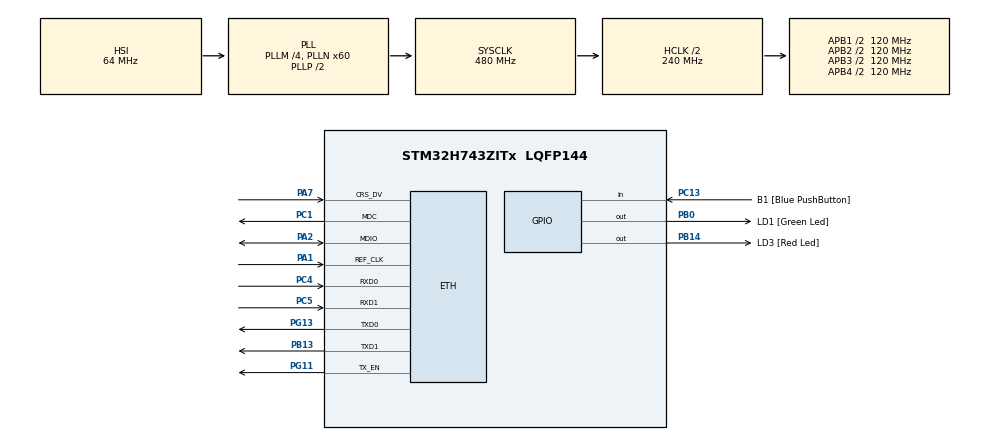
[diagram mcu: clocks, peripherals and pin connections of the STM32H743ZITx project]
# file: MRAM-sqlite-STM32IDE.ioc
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CORTEX_M7.CPU_DCache=Enabled
CORTEX_M7.CPU_ICache=Enabled
CORTEX_M7.Enable-Cortex_Memory_Protection_Unit_Region0_Settings=MPU_REGION_ENABLE
CORTEX_M7.Enable-Cortex_Memory_Protection_Unit_Region1_Settings=__NULL
CORTEX_M7.MPU_Control=__NULL
CORTEX_M7.Size-Cortex_Memory_Protection_Unit_Region0_Settings=MPU_REGION_SIZE_512KB
CRC.DefaultInitValueUse=DEFAULT_INIT_VALUE_DISABLE
CRC.DefaultPolynomialUse=DEFAULT_POLYNOMIAL_DISABLE
CRC.GeneratingPolynomial=X28+X27+X26+X25+X23+X22+X20+X19+X18+X14+X13+X11+X10+X9+X8+X6+X0
CRC.InitValue=0xffffffff
CRC.InputDataFormat=CRC_INPUTDATA_FORMAT_WORDS
CRC.InputDataInversionMode=CRC_INPUTDATA_INVERSION_NONE
CRC.OutputDataInversionMode=CRC_OUTPUTDATA_INVERSION_DISABLE
ETH.MediaInterface=HAL_ETH_RMII_MODE
Mcu.Family=STM32H7
Mcu.Name=STM32H743ZITx
Mcu.Package=LQFP144
Mcu.UserConstants=baseAddress,0xc0000000
NVIC.PriorityGroup=NVIC_PRIORITYGROUP_4
PA1.Mode=RMII
PA1.Signal=ETH_REF_CLK
PA13\ (JTMS/SWDIO).Mode=Trace_Asynchronous_SW
PA13\ (JTMS/SWDIO).Signal=DEBUG_JTMS-SWDIO
PA14\ (JTCK/SWCLK).Mode=Trace_Asynchronous_SW
PA14\ (JTCK/SWCLK).Signal=DEBUG_JTCK-SWCLK
PA2.Mode=RMII
PA2.Signal=ETH_MDIO
PA7.Mode=RMII
PA7.Signal=ETH_CRS_DV
PB0.GPIO_Label=LD1 [Green Led]
PB0.Signal=GPIO_Output
PB13.Mode=RMII
PB13.Signal=ETH_TXD1
PB14.GPIO_Label=LD3 [Red Led]
PB14.Signal=GPIO_Output
PB3\ (JTDO/TRACESWO).Mode=Trace_Asynchronous_SW
PB3\ (JTDO/TRACESWO).Signal=DEBUG_JTDO-SWO
PC1.Mode=RMII
PC1.Signal=ETH_MDC
PC13.GPIO_Label=B1 [Blue PushButton]
PC13.Signal=GPIO_Input
PC14-OSC32_IN\ (OSC32_IN).Mode=LSE-External-Oscillator
PC14-OSC32_IN\ (OSC32_IN).Signal=RCC_OSC32_IN
PC15-OSC32_OUT\ (OSC32_OUT).Mode=LSE-External-Oscillator
PC15-OSC32_OUT\ (OSC32_OUT).Signal=RCC_OSC32_OUT
PC4.Mode=RMII
PC4.Signal=ETH_RXD0
PC5.Mode=RMII
PC5.Signal=ETH_RXD1
PD7.GPIO_PuPd=GPIO_PULLUP
PD7.Signal=FMC_NE1
PG11.Mode=RMII
PG11.Signal=ETH_TX_EN
PG13.Mode=RMII
PG13.Signal=ETH_TXD0
PH0-OSC_IN\ (PH0).Mode=HSE-External-Clock-Source
PH0-OSC_IN\ (PH0).Signal=RCC_OSC_IN
PH1-OSC_OUT\ (PH1).Signal=RCC_OSC_OUT
ProjectManager.HeapSize=0x200
ProjectManager.StackSize=0x400
ProjectManager.TargetToolchain=STM32CubeIDE
RCC.ADCFreq_Value=129000000
RCC.APB1Freq_Value=120000000
RCC.APB2Freq_Value=120000000
RCC.APB3Freq_Value=120000000
RCC.APB4Freq_Value=120000000
RCC.CortexFreq_Value=480000000
RCC.D1PPRE=RCC_APB3_DIV2
RCC.D2PPRE1=RCC_APB1_DIV2
RCC.D2PPRE2=RCC_APB2_DIV2
RCC.D3PPRE=RCC_APB4_DIV2
RCC.DATA_CACHE_ENABLE=1
RCC.DIVM1=4
RCC.DIVN1=60
RCC.DIVQ1=4
RCC.HCLKFreq_Value=240000000
RCC.HPRE=RCC_HCLK_DIV2
RCC.HSE_VALUE=8000000
RCC.INSTRUCTION_CACHE_ENABLE=1
RCC.PLL2FRACN=0
RCC.PLL3FRACN=0
RCC.PLLFRACN=0
RCC.PREFETCH_ENABLE=1
RCC.PWREXT_OverDrive=PWREXT_OverDrive_DESACTIVATED
RCC.PWR_Regulator_Voltage_Scale=PWR_REGULATOR_VOLTAGE_SCALE0
RCC.SYSCLKFreq_VALUE=480000000
RCC.SYSCLKSource=RCC_SYSCLKSOURCE_PLLCLK
RCC.USBFreq_Value=240000000
VP_CRC_VS_CRC.Mode=CRC_Activate
board=NUCLEO-H743ZI2

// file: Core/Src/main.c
/* USER CODE BEGIN Header */
/**
  ******************************************************************************
  * @file           : main.c
  * @brief          : Main program body
  ******************************************************************************
  * @attention
  *
  * Copyright (c) 2023 STMicroelectronics.
  * All rights reserved.
  *
  * This software is licensed under terms that can be found in the LICENSE file
  * in the root directory of this software component.
  * If no LICENSE file comes with this software, it is provided AS-IS.
  *
  ******************************************************************************
  */
/* USER CODE END Header */
#include "main.h"
#include "string.h"

/* USER CODE BEGIN Includes */
#include "mram_commons.h"
#include "bench_sqlite3.h"
#include "stdio.h"
#include "stm32h7xx_hal.h"
#include "stdlib.h"
/* USER CODE END Includes */

#if defined ( __ICCARM__ ) /*!< IAR Compiler */
#pragma location=0x30000000
ETH_DMADescTypeDef  DMARxDscrTab[ETH_RX_DESC_CNT]; /* Ethernet Rx DMA Descriptors */
#pragma location=0x30000200
ETH_DMADescTypeDef  DMATxDscrTab[ETH_TX_DESC_CNT]; /* Ethernet Tx DMA Descriptors */

#elif defined ( __CC_ARM )  /* MDK ARM Compiler */

__attribute__((at(0x30000000))) ETH_DMADescTypeDef  DMARxDscrTab[ETH_RX_DESC_CNT]; /* Ethernet Rx DMA Descriptors */
__attribute__((at(0x30000200))) ETH_DMADescTypeDef  DMATxDscrTab[ETH_TX_DESC_CNT]; /* Ethernet Tx DMA Descriptors */

#elif defined ( __GNUC__ ) /* GNU Compiler */
ETH_DMADescTypeDef DMARxDscrTab[ETH_RX_DESC_CNT] __attribute__((section(".RxDecripSection"))); /* Ethernet Rx DMA Descriptors */
ETH_DMADescTypeDef DMATxDscrTab[ETH_TX_DESC_CNT] __attribute__((section(".TxDecripSection")));   /* Ethernet Tx DMA Descriptors */

#endif

ETH_TxPacketConfig TxConfig;

CRC_HandleTypeDef hcrc;

ETH_HandleTypeDef heth;

void SystemClock_Config(void);
static void MX_GPIO_Init(void);
static void MX_ETH_Init(void);
static void MX_CRC_Init(void);

/* USER CODE BEGIN 0 */

//For printf
int __io_putchar(int ch)
{
	ITM_SendChar(ch);
	return(ch);
}

int _write(int file, char *ptr, int len)
{
	int DataIdx;
	for (DataIdx = 0; DataIdx < len; DataIdx++)
	{
		__io_putchar(*ptr++);
	}
	return len;
}

void MPU_RegionConfig()
{
	MPU_Region_InitTypeDef MPU_InitStruct = {0};

	HAL_MPU_Disable();

	MPU_InitStruct.Enable = MPU_REGION_ENABLE;
	MPU_InitStruct.BaseAddress = MRAM_BANK_ADDR;
	MPU_InitStruct.Size = MPU_REGION_SIZE_4MB;
	MPU_InitStruct.AccessPermission = MPU_REGION_FULL_ACCESS;
	MPU_InitStruct.IsBufferable = MPU_ACCESS_NOT_BUFFERABLE;
	MPU_InitStruct.IsCacheable = MPU_ACCESS_CACHEABLE;
	MPU_InitStruct.IsShareable = MPU_ACCESS_SHAREABLE;
	MPU_InitStruct.Number = MPU_REGION_NUMBER0;
	MPU_InitStruct.TypeExtField = MPU_TEX_LEVEL0;
	MPU_InitStruct.SubRegionDisable = 0x00;
	MPU_InitStruct.DisableExec = MPU_INSTRUCTION_ACCESS_DISABLE;
	HAL_MPU_ConfigRegion(&MPU_InitStruct);
	HAL_MPU_Enable(MPU_PRIVILEGED_DEFAULT);
}

/* USER CODE END 0 */

int main(void)
{
  /* USER CODE BEGIN 1 */
	//MPU_RegionConfig();
  /* USER CODE END 1 */

  /* Enable I-Cache---------------------------------------------------------*/
  SCB_EnableICache();

  /* Enable D-Cache---------------------------------------------------------*/
  SCB_EnableDCache();

  /* MCU Configuration--------------------------------------------------------*/

  /* Reset of all peripherals, Initializes the Flash interface and the Systick. */
  HAL_Init();

  /* Configure the system clock */
  SystemClock_Config();

  /* Initialize all configured peripherals */
  MX_GPIO_Init();
  MX_ETH_Init();
  MX_CRC_Init();

  /* Infinite loop */
  /* USER CODE BEGIN WHILE */
  while (1)
  {
	  printf("Program start\n");
	  int seeds[]={7, 12, 33, 84,95};
	  srand(seeds[4]);
	  test_sqlite3();

	  //test_lfs();
	  HAL_Delay(20000);

    /* USER CODE END WHILE */

  }
}

void SystemClock_Config(void)
{
  RCC_OscInitTypeDef RCC_OscInitStruct = {0};
  RCC_ClkInitTypeDef RCC_ClkInitStruct = {0};

  /** Supply configuration update enable
  */
  HAL_PWREx_ConfigSupply(PWR_LDO_SUPPLY);

  /** Configure the main internal regulator output voltage
  */
  __HAL_PWR_VOLTAGESCALING_CONFIG(PWR_REGULATOR_VOLTAGE_SCALE1);

  while(!__HAL_PWR_GET_FLAG(PWR_FLAG_VOSRDY)) {}

  __HAL_RCC_SYSCFG_CLK_ENABLE();
  __HAL_PWR_VOLTAGESCALING_CONFIG(PWR_REGULATOR_VOLTAGE_SCALE0);

  while(!__HAL_PWR_GET_FLAG(PWR_FLAG_VOSRDY)) {}

  /** Initializes the RCC Oscillators according to the specified parameters
  * in the RCC_OscInitTypeDef structure.
  */
  RCC_OscInitStruct.OscillatorType = RCC_OSCILLATORTYPE_HSI;
  RCC_OscInitStruct.HSIState = RCC_HSI_DIV1;
  RCC_OscInitStruct.HSICalibrationValue = RCC_HSICALIBRATION_DEFAULT;
  RCC_OscInitStruct.PLL.PLLState = RCC_PLL_ON;
  RCC_OscInitStruct.PLL.PLLSource = RCC_PLLSOURCE_HSI;
  RCC_OscInitStruct.PLL.PLLM = 4;
  RCC_OscInitStruct.PLL.PLLN = 60;
  RCC_OscInitStruct.PLL.PLLP = 2;
  RCC_OscInitStruct.PLL.PLLQ = 4;
  RCC_OscInitStruct.PLL.PLLR = 2;
  RCC_OscInitStruct.PLL.PLLRGE = RCC_PLL1VCIRANGE_3;
  RCC_OscInitStruct.PLL.PLLVCOSEL = RCC_PLL1VCOWIDE;
  RCC_OscInitStruct.PLL.PLLFRACN = 0;
  if (HAL_RCC_OscConfig(&RCC_OscInitStruct) != HAL_OK)
  {
    Error_Handler();
  }

  /** Initializes the CPU, AHB and APB buses clocks
  */
  RCC_ClkInitStruct.ClockType = RCC_CLOCKTYPE_HCLK|RCC_CLOCKTYPE_SYSCLK
                              |RCC_CLOCKTYPE_PCLK1|RCC_CLOCKTYPE_PCLK2
                              |RCC_CLOCKTYPE_D3PCLK1|RCC_CLOCKTYPE_D1PCLK1;
  RCC_ClkInitStruct.SYSCLKSource = RCC_SYSCLKSOURCE_PLLCLK;
  RCC_ClkInitStruct.SYSCLKDivider = RCC_SYSCLK_DIV1;
  RCC_ClkInitStruct.AHBCLKDivider = RCC_HCLK_DIV2;
  RCC_ClkInitStruct.APB3CLKDivider = RCC_APB3_DIV2;
  RCC_ClkInitStruct.APB1CLKDivider = RCC_APB1_DIV2;
  RCC_ClkInitStruct.APB2CLKDivider = RCC_APB2_DIV2;
  RCC_ClkInitStruct.APB4CLKDivider = RCC_APB4_DIV2;

  if (HAL_RCC_ClockConfig(&RCC_ClkInitStruct, FLASH_LATENCY_4) != HAL_OK)
  {
    Error_Handler();
  }
}

static void MX_CRC_Init(void)
{

  hcrc.Instance = CRC;
  hcrc.Init.DefaultPolynomialUse = DEFAULT_POLYNOMIAL_DISABLE;
  hcrc.Init.DefaultInitValueUse = DEFAULT_INIT_VALUE_DISABLE;
  hcrc.Init.GeneratingPolynomial = 517762881;
  hcrc.Init.CRCLength = CRC_POLYLENGTH_32B;
  hcrc.Init.InitValue = 0xffffffff;
  hcrc.Init.InputDataInversionMode = CRC_INPUTDATA_INVERSION_NONE;
  hcrc.Init.OutputDataInversionMode = CRC_OUTPUTDATA_INVERSION_DISABLE;
  hcrc.InputDataFormat = CRC_INPUTDATA_FORMAT_WORDS;
  if (HAL_CRC_Init(&hcrc) != HAL_OK)
  {
    Error_Handler();
  }

}

static void MX_ETH_Init(void)
{

   static uint8_t MACAddr[6];

  heth.Instance = ETH;
  MACAddr[0] = 0x00;
  MACAddr[1] = 0x80;
  MACAddr[2] = 0xE1;
  MACAddr[3] = 0x00;
  MACAddr[4] = 0x00;
  MACAddr[5] = 0x00;
  heth.Init.MACAddr = &MACAddr[0];
  heth.Init.MediaInterface = HAL_ETH_RMII_MODE;
  heth.Init.TxDesc = DMATxDscrTab;
  heth.Init.RxDesc = DMARxDscrTab;
  heth.Init.RxBuffLen = 1524;

  if (HAL_ETH_Init(&heth) != HAL_OK)
  {
    Error_Handler();
  }

  memset(&TxConfig, 0 , sizeof(ETH_TxPacketConfig));
  TxConfig.Attributes = ETH_TX_PACKETS_FEATURES_CSUM | ETH_TX_PACKETS_FEATURES_CRCPAD;
  TxConfig.ChecksumCtrl = ETH_CHECKSUM_IPHDR_PAYLOAD_INSERT_PHDR_CALC;
  TxConfig.CRCPadCtrl = ETH_CRC_PAD_INSERT;

}

static void MX_GPIO_Init(void)
{
  GPIO_InitTypeDef GPIO_InitStruct = {0};

  /* GPIO Ports Clock Enable */
  __HAL_RCC_GPIOC_CLK_ENABLE();
  __HAL_RCC_GPIOH_CLK_ENABLE();
  __HAL_RCC_GPIOA_CLK_ENABLE();
  __HAL_RCC_GPIOB_CLK_ENABLE();
  __HAL_RCC_GPIOD_CLK_ENABLE();
  __HAL_RCC_GPIOG_CLK_ENABLE();

  /*Configure GPIO pin Output Level */
  HAL_GPIO_WritePin(GPIOB, LD1_Pin|LD3_Pin, GPIO_PIN_RESET);

  /*Configure GPIO pin : B1_Pin */
  GPIO_InitStruct.Pin = B1_Pin;
  GPIO_InitStruct.Mode = GPIO_MODE_INPUT;
  GPIO_InitStruct.Pull = GPIO_NOPULL;
  HAL_GPIO_Init(B1_GPIO_Port, &GPIO_InitStruct);

  /*Configure GPIO pins : LD1_Pin LD3_Pin */
  GPIO_InitStruct.Pin = LD1_Pin|LD3_Pin;
  GPIO_InitStruct.Mode = GPIO_MODE_OUTPUT_PP;
  GPIO_InitStruct.Pull = GPIO_NOPULL;
  GPIO_InitStruct.Speed = GPIO_SPEED_FREQ_LOW;
  HAL_GPIO_Init(GPIOB, &GPIO_InitStruct);

  /*Configure GPIO pin : PD7 */
  GPIO_InitStruct.Pin = GPIO_PIN_7;
  GPIO_InitStruct.Mode = GPIO_MODE_AF_PP;
  GPIO_InitStruct.Pull = GPIO_PULLUP;
  GPIO_InitStruct.Speed = GPIO_SPEED_FREQ_VERY_HIGH;
  GPIO_InitStruct.Alternate = GPIO_AF12_FMC;
  HAL_GPIO_Init(GPIOD, &GPIO_InitStruct);

}

void Error_Handler(void)
{
  __disable_irq();
  while (1)
  {
  }
}
